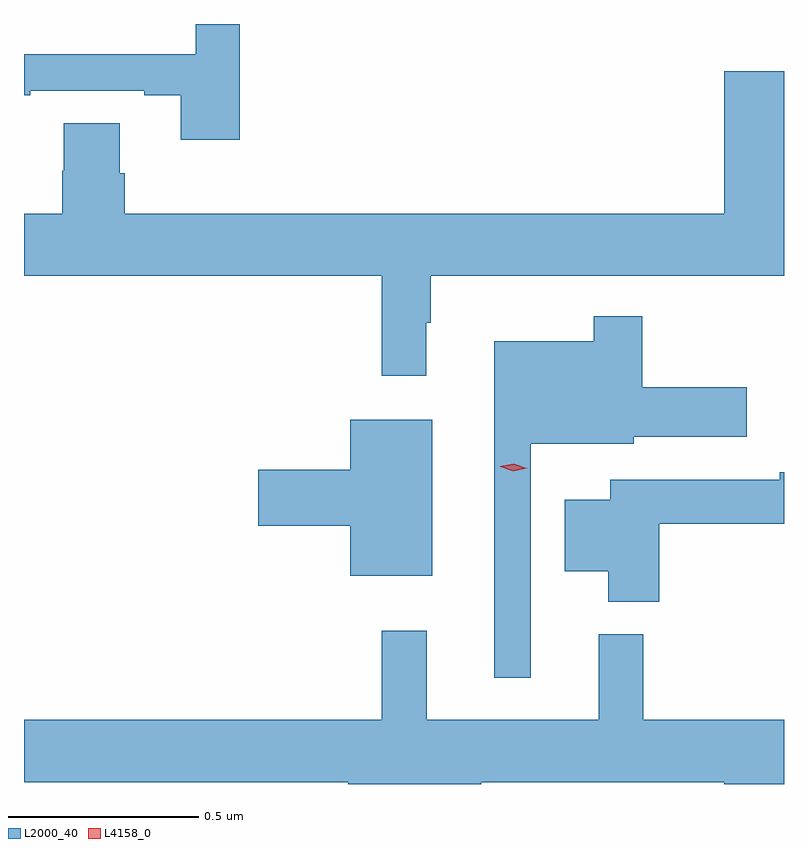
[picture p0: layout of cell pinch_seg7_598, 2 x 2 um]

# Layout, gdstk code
import gdstk
lib = gdstk.Library(unit=1e-6, precision=1e-09)
def P(c, l, *ps):  # polygons
    for p in ps: c.add(gdstk.Polygon(p, *l))
L2000_40 = (2000, 40)
L4158_0 = (4158, 0)

pinch_seg7_598 = lib.new_cell('pinch_seg7_598')
P(pinch_seg7_598, L2000_40, [(115.781,1050.563),(115.665,1050.563),(115.665,1050.483),(115.213,1050.483),(115.213,1050.375),(115.229,1050.375),(115.229,1050.387),(115.529,1050.387),(115.529,1050.375),(115.625,1050.375),(115.625,1050.258),(115.781,1050.258)],
  [(116.272,1049.777),(116.284,1049.777),(116.284,1049.9),(117.213,1049.9),(117.213,1050.439),(117.056,1050.439),(117.056,1050.064),(115.478,1050.064),(115.478,1050.17),(115.465,1050.17),(115.465,1050.302),(115.318,1050.302),(115.318,1050.177),(115.313,1050.177),(115.313,1050.064),(115.213,1050.064),(115.213,1049.9),(116.155,1049.9),(116.155,1049.637),(116.272,1049.637)],
  [(116.547,1049.459),(116.817,1049.459),(116.817,1049.477),(117.115,1049.477),(117.115,1049.607),(116.84,1049.607),(116.84,1049.794),(116.712,1049.794),(116.712,1049.728),(116.45,1049.728),(116.45,1048.842),(116.547,1048.842)],
  [(116.287,1049.521),(116.072,1049.521),(116.072,1049.39),(115.83,1049.39),(115.83,1049.243),(116.072,1049.243),(116.072,1049.111),(116.287,1049.111)],
  [(116.885,1049.248),(117.213,1049.248),(117.213,1049.384),(117.202,1049.384),(117.202,1049.364),(116.756,1049.364),(116.756,1049.311),(116.636,1049.311),(116.636,1049.123),(116.75,1049.123),(116.75,1049.042),(116.885,1049.042)],
  [(116.416,1048.568),(117.056,1048.568),(117.056,1048.563),(117.213,1048.563),(117.213,1048.732),(116.843,1048.732),(116.843,1048.957),(116.726,1048.957),(116.726,1048.732),(116.273,1048.732),(116.273,1048.966),(116.155,1048.966),(116.155,1048.732),(115.213,1048.732),(115.213,1048.568),(116.066,1048.568),(116.066,1048.563),(116.416,1048.563)])
P(pinch_seg7_598, L4158_0, [(116.5,1049.386),(116.466,1049.398),(116.466,1049.399),(116.466,1049.399),(116.502,1049.406),(116.536,1049.394),(116.537,1049.394),(116.536,1049.394)])

lib.write_gds('pinch_seg7_598.gds')
